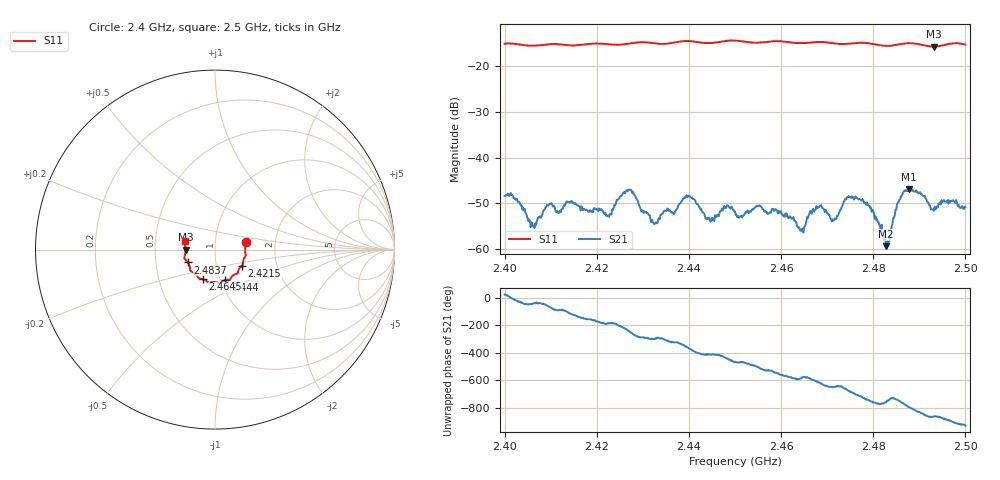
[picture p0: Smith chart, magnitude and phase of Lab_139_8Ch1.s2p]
# Hz S RI R
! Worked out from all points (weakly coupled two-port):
!   601 points, 2.4 GHz to 2.5 GHz, reference 50 ohm
!   highest |S21| = -46.89 dB at 2.4877 GHz (marker M1); lowest = -59.3 dB at 2.4828 GHz (marker M2)
!   lowest |S11| = -15.7 dB at 2.4932 GHz (marker M3), VSWR 1.39, Z = 35.9 - j0.0473 ohm
!   |S11| at or under -10 dB: start of sweep to end of sweep
!   S12 and S22 are empty: the file has one direction only
!   S11 on the Smith chart (normalised r, x): 2.4 GHz: 1.41, +0.12; 2.4215 GHz: 1.33, -0.25; 2.444 GHz: 1.06, -0.37; 2.4645 GHz: 0.83, -0.29; 2.4837 GHz: 0.73, -0.11; 2.5 GHz: 0.71, +0.07
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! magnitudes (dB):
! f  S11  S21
! 2.4 GHz  -15.1  -48.4
! 2.4062 GHz  -15.5  -54.9
! 2.4097 GHz  -15.2  -50.2
! 2.4167 GHz  -15.3  -50.6
! 2.4215 GHz  -15.1  -52.0
! 2.427 GHz  -15.1  -46.9
! 2.4333 GHz  -15.1  -53.5
! 2.4398 GHz  -14.5  -48.4
! 2.444 GHz  -15.0  -53.4
! 2.45 GHz  -14.4  -51.8
! 2.4585 GHz  -14.5  -51.6
! 2.4645 GHz  -15.0  -56.0
! 2.4667 GHz  -14.8  -52.2
! 2.4715 GHz  -15.0  -53.7
! 2.4765 GHz  -14.9  -48.8
! 2.4828 GHz  -15.6  -59.3
! 2.4833 GHz  -15.6  -58.4
! 2.4837 GHz  -15.5  -57.6
! 2.4857 GHz  -15.2  -49.2
! 2.4877 GHz  -15.0  -46.9
! 2.4932 GHz  -15.7  -51.6
! 2.5 GHz  -15.3  -50.8
